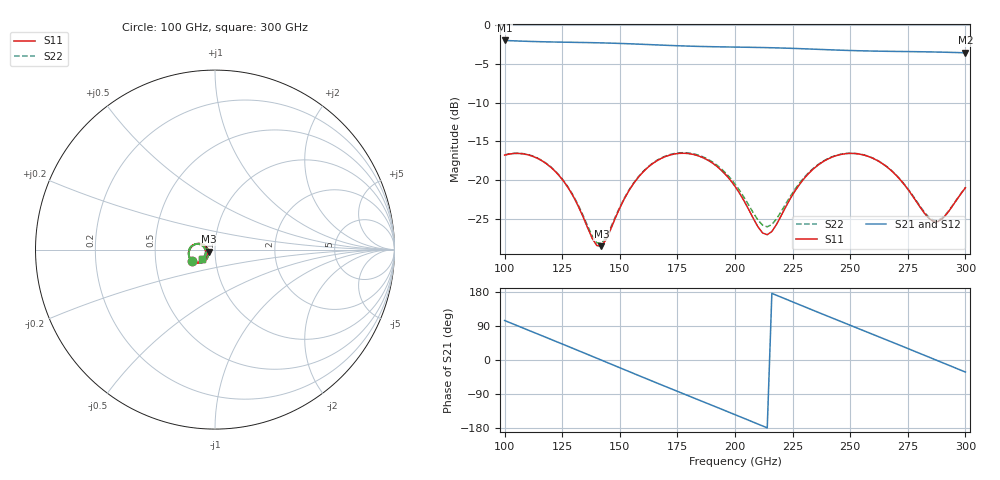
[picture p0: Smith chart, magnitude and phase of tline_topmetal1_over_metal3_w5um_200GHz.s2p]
#  GHZ S DB R 50
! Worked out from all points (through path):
!   101 points, 100 GHz to 300 GHz, reference 50 ohm
!   highest |S21| = -1.94 dB at 100 GHz (marker M1); lowest = -3.5 dB at 300 GHz (marker M2)
!   group delay of S21, straight-line fit = 6.89 ps
!   lowest |S11| = -28.6 dB at 142 GHz (marker M3), VSWR 1.08, Z = 46.6 - j1.14 ohm
!   |S11| at or under -10 dB: start of sweep to end of sweep
!   |S22| runs from -28.2 to -16.5 dB; largest |S21 - S12| = 8.4e-14
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100  -16.78 -153.4  -1.94 104.2  -1.94 104.2  -16.75 -153.3
108  -16.61 -169.7  -2.04 84.4  -2.04 84.4  -16.58 -169.3
116  -17.47 174.9  -2.11 64.6  -2.11 64.6  -17.43 175.4
126  -20.31 159.4  -2.17 39.8  -2.17 39.8  -20.24 160.3
134  -24.72 158.5  -2.21 19.8  -2.21 19.8  -24.55 159.8
138  -27.52 171.4  -2.23 9.8  -2.23 9.8  -27.22 172.5
142  -28.56 -161.0  -2.26 -0.3  -2.26 -0.3  -28.21 -161.1
156  -20.44 -133.1  -2.39 -35.5  -2.39 -35.5  -20.38 -133.2
168  -17.20 -151.0  -2.54 -65.4  -2.54 -65.4  -17.14 -150.6
176  -16.55 -165.4  -2.64 -85.1  -2.64 -85.1  -16.48 -164.7
184  -16.86 -179.7  -2.71 -104.8  -2.71 -104.8  -16.77 -178.6
200  -20.81 158.8  -2.80 -144.2  -2.80 -144.2  -20.52 161.1
214  -27.08 -167.5  -2.87 -179.1  -2.87 -179.1  -26.05 -168.9
224  -22.41 -136.8  -2.96 155.9  -2.96 155.9  -22.12 -140.7
234  -18.57 -143.6  -3.07 131.0  -3.07 131.0  -18.48 -146.2
250  -16.55 -168.6  -3.24 91.7  -3.24 91.7  -16.53 -170.1
258  -16.96 178.6  -3.30 72.1  -3.30 72.1  -16.94 177.2
268  -18.82 165.3  -3.35 47.6  -3.35 47.6  -18.79 164.2
278  -22.46 162.9  -3.39 22.9  -3.39 22.9  -22.38 162.0
286  -25.34 -176.1  -3.43 3.0  -3.43 3.0  -25.19 -177.5
290  -25.02 -159.6  -3.46 -6.9  -3.46 -6.9  -24.90 -161.5
300  -21.00 -143.6  -3.54 -31.8  -3.54 -31.8  -20.99 -145.6
